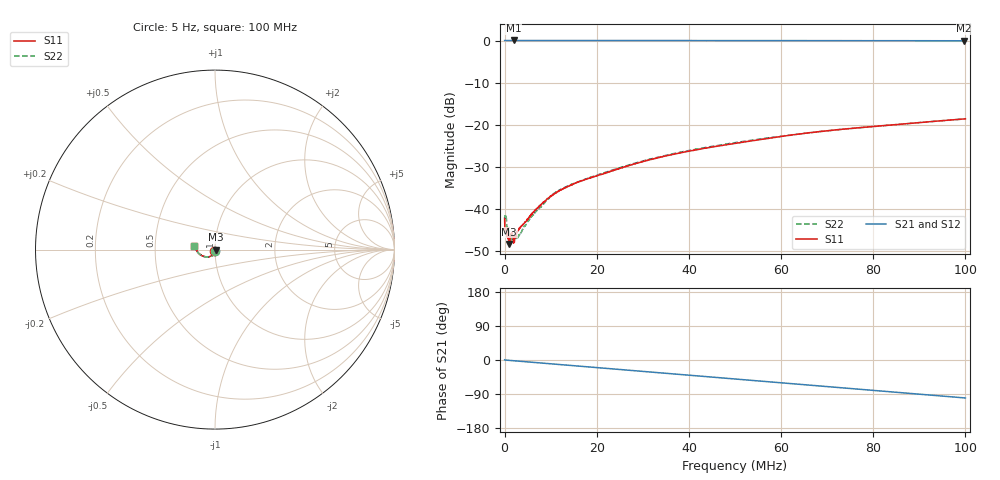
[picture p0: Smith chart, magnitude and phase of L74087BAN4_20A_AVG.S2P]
!Agilent Technologies,E5061B,MY49102235,A.02.00
!Date: Tue Jul 11 16:11:36 2023
!Data & Calibration Information:
!Freq	S11:SOLT2(ON)	S21:SOLT2(ON)	S12:SOLT2(ON)	S22:SOLT2(ON)
# Hz S RI R 50
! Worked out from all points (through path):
!   1600 points, 5 Hz to 100 MHz, reference 50 ohm
!   highest |S21| = 0.02 dB at 1.939 MHz (marker M1); lowest = -0.1 dB at 99.75 MHz (marker M2)
!   group delay of S21, straight-line fit = 2.78 ns
!   lowest |S11| = -48.4 dB at 1.001 MHz (marker M3), VSWR 1.01, Z = 50.4 - j0.0794 ohm
!   |S11| at or under -10 dB: start of sweep to end of sweep
!   |S22| runs from -48.9 to -18.6 dB; largest |S21 - S12| = 0.0026
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5  -0.00515 -0.00564  1.002 0.00803  1 0.0102  -0.00143 -0.00753
437778.6  0.00515 -0.000594  1.001 -0.00528  1.001 -0.00611  0.00662 -0.00223
625395.8  0.00511 -0.000628  1.002 -0.0104  1.002 -0.01  0.00612 -0.00101
1000630  0.00373 -0.000788  1.001 -0.0163  1.001 -0.0161  0.00511 -0.00172
1563482  0.00432 -0.00293  1.001 -0.0261  1.001 -0.0254  0.00312 -0.0035
1938717  0.00308 -0.00237  1.002 -0.0334  1.001 -0.0329  0.00339 -0.0021
2376490  0.00328 -0.00303  0.9997 -0.0411  1 -0.0415  0.00392 -0.00271
3252037  0.0042 -0.00425  0.9993 -0.0566  0.9992 -0.0565  0.00313 -0.00375
4690436  0.00369 -0.00605  0.9977 -0.0817  0.9975 -0.0818  0.00342 -0.00571
6003757  0.00329 -0.00797  0.9954 -0.1045  0.9955 -0.1044  0.00285 -0.0078
9505946  0.00145 -0.0132  0.9871 -0.1656  0.9873 -0.1654  0.000839 -0.0132
1.156974e7  -3.81e-05 -0.0161  0.9807 -0.2009  0.9804 -0.2008  -0.000934 -0.0163
1.669794e7  -0.00392 -0.0211  0.958 -0.2879  0.958 -0.2877  -0.00431 -0.0212
2.582865e7  -0.0113 -0.0289  0.9002 -0.4367  0.9 -0.4366  -0.00925 -0.0303
3.333334e7  -0.0202 -0.035  0.8347 -0.5506  0.8347 -0.5504  -0.019 -0.0363
4.040025e7  -0.0297 -0.0386  0.76 -0.6489  0.7603 -0.649  -0.0293 -0.04
5.003127e7  -0.044 -0.0404  0.6402 -0.7671  0.6401 -0.7669  -0.0444 -0.0416
6.672921e7  -0.0734 -0.0338  0.3913 -0.9174  0.3916 -0.9176  -0.0727 -0.0346
8.33646e7  -0.0976 -0.0118  0.112 -0.9896  0.1119 -0.9897  -0.0973 -0.014
9.155722e7  -0.1074 0.0034  -0.0305 -0.9943  -0.0306 -0.9944  -0.1075 -1.45e-05
9.974984e7  -0.1151 0.0203  -0.1719 -0.9786  -0.1717 -0.9788  -0.1151 0.0172
1e8  -0.1152 0.0208  -0.1762 -0.978  -0.1761 -0.9781  -0.1154 0.0179
